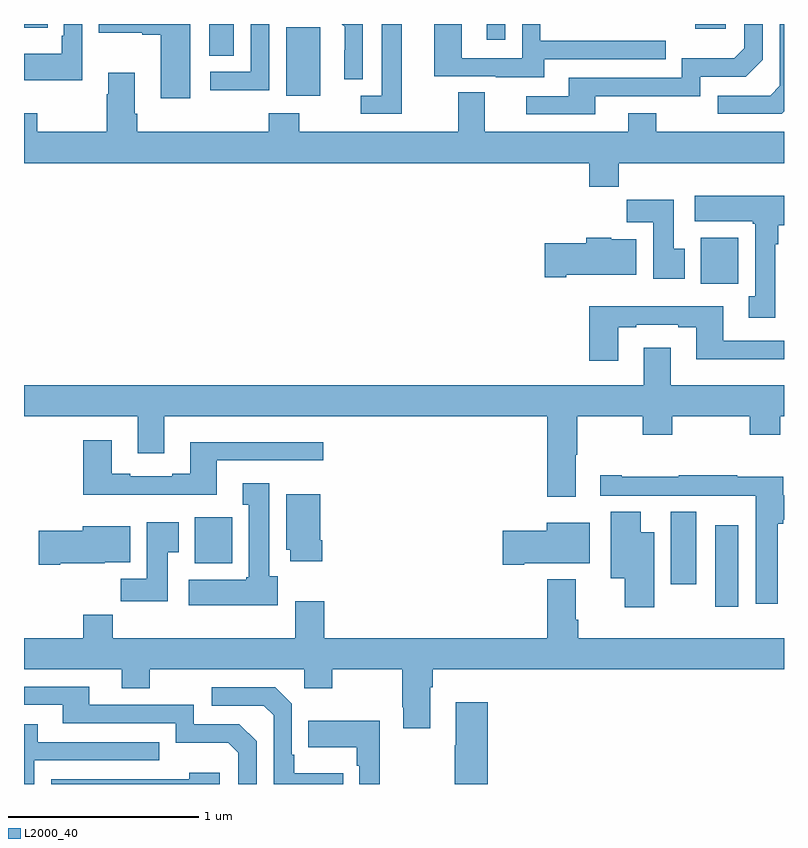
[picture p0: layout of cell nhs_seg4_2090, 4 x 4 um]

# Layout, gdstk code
import gdstk
lib = gdstk.Library(unit=1e-6, precision=1e-09)
def R(c, l, rs):  # rectangles x0, y0, x1, y1
    for r in rs: c.add(gdstk.rectangle(r[:2], r[2:], *l))
def P(c, l, *ps):  # polygons
    for p in ps: c.add(gdstk.Polygon(p, *l))
L2000_40 = (2000, 40)

nhs_seg4_2090 = lib.new_cell('nhs_seg4_2090')
R(nhs_seg4_2090, L2000_40, [(222.638,779.832,222.76,780.262), (222.404,779.952,222.538,780.332), (219.899,780.062,220.096,780.304), (222.563,781.532,222.76,781.774), (220.379,782.522,220.558,782.883), (219.974,782.734,220.105,782.9), (221.435,782.817,221.532,782.9), (222.533,782.876,222.694,782.9), (219,782.879,219.125,782.9)])
P(nhs_seg4_2090, L2000_40, [(220.782,782.9),(220.673,782.9),(220.688,782.885),(220.688,782.762),(220.686,782.762),(220.686,782.608),(220.782,782.608)],
  [(220.29,782.9),(220.194,782.9),(220.194,782.649),(219.981,782.649),(219.981,782.551),(220.29,782.551)],
  [(220.987,782.9),(220.883,782.9),(220.883,782.523),(220.773,782.523),(220.773,782.427),(220.987,782.427)],
  [(219.874,782.9),(219.393,782.9),(219.393,782.855),(219.623,782.855),(219.623,782.843),(219.719,782.843),(219.719,782.508),(219.874,782.508)],
  [(223,782.44),(223,782.9),(222.978,782.9),(222.978,782.574),(222.927,782.523),(222.651,782.523),(222.651,782.427),(222.987,782.427)],
  [(222.007,782.52),(222.558,782.52),(222.558,782.622),(222.798,782.622),(222.888,782.712),(222.888,782.9),(222.792,782.9),(222.792,782.772),(222.739,782.719),(222.462,782.719),(222.462,782.616),(221.867,782.616),(221.867,782.52),(221.643,782.52),(221.643,782.424),(222.007,782.424)],
  [(221.737,782.715),(222.377,782.715),(222.377,782.811),(221.718,782.811),(221.718,782.9),(221.622,782.9),(221.622,782.721),(221.304,782.721),(221.304,782.9),(221.159,782.9),(221.159,782.625),(221.483,782.625),(221.483,782.621),(221.737,782.621)],
  [(219.306,782.9),(219.21,782.9),(219.21,782.839),(219.198,782.839),(219.198,782.743),(219,782.743),(219,782.603),(219.306,782.603)],
  [(222.131,782.168),(223,782.168),(223,782.332),(222.327,782.332),(222.327,782.431),(222.179,782.431),(222.179,782.332),(221.425,782.332),(221.425,782.54),(221.285,782.54),(221.285,782.332),(220.449,782.332),(220.449,782.431),(220.289,782.431),(220.289,782.332),(219.596,782.332),(219.596,782.428),(219.583,782.428),(219.583,782.644),(219.443,782.644),(219.443,782.531),(219.436,782.531),(219.436,782.332),(219.069,782.332),(219.069,782.431),(219,782.431),(219,782.168),(221.975,782.168),(221.975,782.044),(222.131,782.044)],
  [(222.955,781.742),(222.97,781.742),(222.97,781.842),(223,781.842),(223,781.996),(222.531,781.996),(222.531,781.862),(222.835,781.862),(222.835,781.849),(222.848,781.849),(222.848,781.466),(222.815,781.466),(222.815,781.353),(222.955,781.353)],
  [(222.478,781.716),(222.421,781.716),(222.421,781.975),(222.172,781.975),(222.172,781.856),(222.311,781.856),(222.311,781.56),(222.478,781.56)],
  [(221.854,781.58),(222.223,781.58),(222.223,781.768),(222.09,781.768),(222.09,781.774),(221.96,781.774),(221.96,781.746),(221.742,781.746),(221.742,781.568),(221.854,781.568)],
  [(222.127,781.305),(222.223,781.305),(222.223,781.317),(222.443,781.317),(222.443,781.305),(222.539,781.305),(222.539,781.136),(223,781.136),(223,781.233),(222.679,781.233),(222.679,781.414),(221.975,781.414),(221.975,781.128),(222.127,781.128)],
  [(221.905,780.632),(221.913,780.632),(221.913,780.836),(222.256,780.836),(222.256,780.737),(222.411,780.737),(222.411,780.836),(222.82,780.836),(222.82,780.737),(222.98,780.737),(222.98,780.836),(223,780.836),(223,781),(222.403,781),(222.403,781.195),(222.263,781.195),(222.263,781),(219,781),(219,780.836),(219.599,780.836),(219.599,780.642),(219.739,780.642),(219.739,780.836),(221.753,780.836),(221.753,780.411),(221.905,780.411)],
  [(220.015,780.603),(220.576,780.603),(220.576,780.7),(219.875,780.7),(219.875,780.532),(219.779,780.532),(219.779,780.519),(219.559,780.519),(219.559,780.532),(219.463,780.532),(219.463,780.709),(219.311,780.709),(219.311,780.422),(220.015,780.422)],
  [(222.968,780.269),(222.995,780.269),(222.995,780.292),(223,780.292),(223,780.421),(222.995,780.421),(222.995,780.516),(222.755,780.516),(222.755,780.526),(222.445,780.526),(222.445,780.516),(222.145,780.516),(222.145,780.526),(222.033,780.526),(222.033,780.417),(222.642,780.417),(222.642,780.416),(222.852,780.416),(222.852,779.85),(222.968,779.85)],
  [(220.336,779.994),(220.291,779.994),(220.291,780.484),(220.151,780.484),(220.151,780.371),(220.184,780.371),(220.184,779.988),(220.171,779.988),(220.171,779.974),(219.867,779.974),(219.867,779.84),(220.336,779.84)],
  [(220.571,780.184),(220.558,780.184),(220.558,780.424),(220.379,780.424),(220.379,780.132),(220.4,780.132),(220.4,780.072),(220.571,780.072)],
  [(222.316,780.226),(222.247,780.226),(222.247,780.332),(222.089,780.332),(222.089,779.984),(222.161,779.984),(222.161,779.829),(222.316,779.829)],
  [(219.757,780.121),(219.814,780.121),(219.814,780.277),(219.647,780.277),(219.647,779.98),(219.508,779.98),(219.508,779.862),(219.757,779.862)],
  [(221.632,780.062),(221.977,780.062),(221.977,780.274),(221.75,780.274),(221.75,780.233),(221.52,780.233),(221.52,780.055),(221.632,780.055)],
  [(219.19,780.062),(219.426,780.062),(219.426,780.068),(219.559,780.068),(219.559,780.256),(219.308,780.256),(219.308,780.233),(219.078,780.233),(219.078,780.055),(219.19,780.055)],
  [(221.137,779.408),(221.15,779.408),(221.15,779.504),(223,779.504),(223,779.668),(221.918,779.668),(221.918,779.764),(221.905,779.764),(221.905,779.977),(221.753,779.977),(221.753,779.668),(220.58,779.668),(220.58,779.863),(220.427,779.863),(220.427,779.668),(219.467,779.668),(219.467,779.792),(219.311,779.792),(219.311,779.668),(219,779.668),(219,779.504),(219.515,779.504),(219.515,779.405),(219.663,779.405),(219.663,779.504),(220.476,779.504),(220.476,779.405),(220.623,779.405),(220.623,779.504),(220.99,779.504),(220.99,779.305),(220.997,779.305),(220.997,779.193),(221.137,779.193)],
  [(220.224,779.124),(220.134,779.214),(219.894,779.214),(219.894,779.316),(219.343,779.316),(219.343,779.412),(219,779.412),(219,779.316),(219.203,779.316),(219.203,779.22),(219.798,779.22),(219.798,779.117),(220.075,779.117),(220.128,779.064),(220.128,778.9),(220.224,778.9)],
  [(220.679,778.957),(220.423,778.957),(220.423,779.053),(220.41,779.053),(220.41,779.322),(220.323,779.409),(219.987,779.409),(219.987,779.313),(220.263,779.313),(220.314,779.262),(220.314,778.9),(220.679,778.9)],
  [(221.441,779.329),(221.273,779.329),(221.273,779.105),(221.266,779.105),(221.266,778.9),(221.441,778.9)],
  [(220.873,779.233),(220.495,779.233),(220.495,779.093),(220.752,779.093),(220.752,778.997),(220.764,778.997),(220.764,778.9),(220.873,778.9)],
  [(219.054,779.025),(219.713,779.025),(219.713,779.121),(219.073,779.121),(219.073,779.215),(219,779.215),(219,778.9),(219.054,778.9)],
  [(220.03,778.96),(219.869,778.96),(219.869,778.926),(219.144,778.926),(219.144,778.9),(220.03,778.9)])

lib.write_gds('nhs_seg4_2090.gds')
